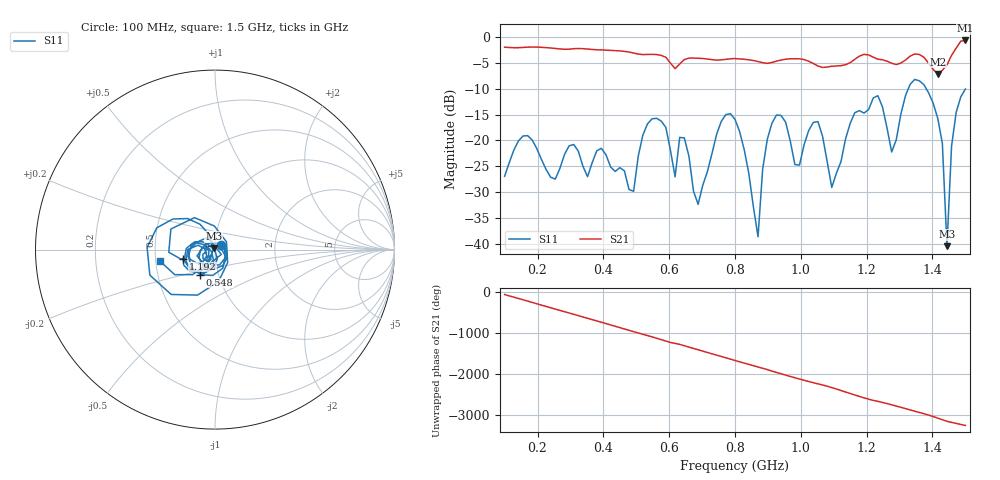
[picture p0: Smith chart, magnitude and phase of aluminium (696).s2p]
! NanoVNA-App
! Date: 2025-09-25 15:00:42
! Start: 100MHz Stop: 1,5GHz Points: 101
! S-Parameter data: F S11 S21 S12 S22
# Hz S RI R 50
!  Frequency  S11_Real  S11_Imag  S21_Real  S21_Imag  S12_Real  S12_Imag  S22_Real  S22_Imag
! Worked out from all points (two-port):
!   101 points, 100 MHz to 1.5 GHz, reference 50 ohm
!   highest |S21| = -0.62 dB at 1.5 GHz (marker M1); lowest = -7.1 dB at 1.416 GHz (marker M2)
!   |S21| within 3 dB of the highest: start of sweep to 579.7 MHz; 1.457 GHz to end of sweep (the widest 2 of 4)
!   lowest |S11| = -40.5 dB at 1.444 GHz (marker M3), VSWR 1.02, Z = 49.3 + j0.633 ohm
!   |S11| at or under -10 dB: start of sweep to 1.326 GHz; 1.381 GHz to end of sweep
!   S12 and S22 are empty: the file has one direction only
!   S11 on the Smith chart (normalised r, x): 100 MHz: 1.07, +0.06; 548 MHz: 0.82, -0.23; 1.192 GHz: 0.70, -0.07; 1.5 GHz: 0.52, -0.07
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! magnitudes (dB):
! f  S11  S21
! 100 MHz  -27.0  -1.9
! 156 MHz  -19.1  -2.0
! 338 MHz  -25.0  -2.2
! 492 MHz  -29.9  -3.1
! 548 MHz  -15.8  -3.3
! 576 MHz  -16.3  -3.5
! 688 MHz  -32.4  -4.1
! 800 MHz  -15.9  -4.1
! 870 MHz  -38.7  -4.7
! 912 MHz  -16.7  -4.9
! 996 MHz  -24.8  -4.2
! 1.038 GHz  -16.5  -5.1
! 1.094 GHz  -29.1  -5.6
! 1.192 GHz  -14.7  -3.3
! 1.234 GHz  -11.3  -4.3
! 1.276 GHz  -22.2  -5.0
! 1.346 GHz  -8.2  -3.2
! 1.416 GHz  -15.7  -7.1
! 1.43 GHz  -20.6  -6.4
! 1.444 GHz  -40.5  -5.4
! 1.458 GHz  -21.1  -3.5
! 1.5 GHz  -10.0  -0.6
